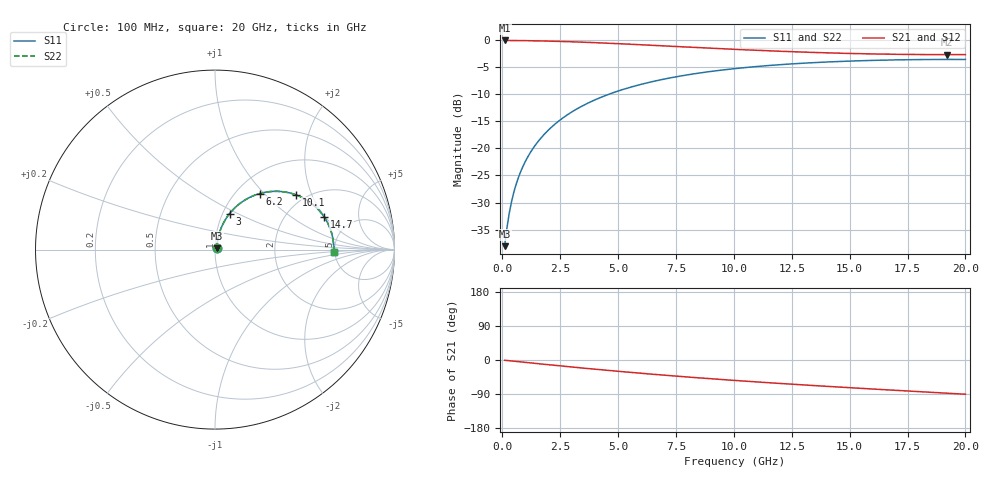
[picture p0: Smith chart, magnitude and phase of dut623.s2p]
! Touchstone file exported from HFSS 2026.1.0
!  File:  C:/ffzhzh/LocalFiles/Ansys_Project_Files/temp_train_TSV_RDL_623_1783125030_46604.aedt
!  Generated:  08:42:10 AM Jul  4, 2026
!  Design:  TSV_RDL
!  Project:  temp_train_TSV_RDL_623_1783125030_46604
! Variables:
!  h_bsmrdl = 5.82um
!  h_ox = 20um
!  h_rdl = 5um
!  h_sub = 63.92um
!  h_tmrdl = 3.71um
!  h_tsv = 63.92um
!  h_via = 3um
!  l_bsmrdl = 123.23um
!  l_sub = 1579.49um
!  l_tmrdl = 181.18um
!  m_sub = 200um
!  pitch = 56.35um
!  r_tsv = 4.2um
!  s_tmrdl = 10um
!  w_bsmrdl = 12.27um
!  w_sub = 500um
!  w_tmrdl = 16.09um
!  x_tsv_center1 = 189.225um
!  x_tsv_center2 = 324.725um
!  x_tsv_center3 = 521.995um
!  x_tsv_center4 = 657.495um
!  x_tsv_center5 = 854.765um
!  x_tsv_center6 = 990.265um
# GHz S MA R 50.000000
! Terminal data exported
! Port[1] = TM_RDL1_1_T1
! Port[2] = TM_RDL5_1_T1
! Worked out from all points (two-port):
!   200 points, 100 MHz to 20 GHz, reference 50 ohm
!   highest |S21| = -0.09 dB at 100 MHz (marker M1); lowest = -2.7 dB at 19.2 GHz (marker M2)
!   |S21| within 3 dB of the highest: start of sweep to end of sweep
!   lowest |S11| = -38.1 dB at 100 MHz (marker M3), VSWR 1.03, Z = 51 + j0.78 ohm
!   |S11| at or under -10 dB: start of sweep to 4.613 GHz
!   |S22| runs from -38.1 to -3.6 dB; largest |S21 - S12| = 1.1e-14
!   S11 on the Smith chart (normalised r, x): 100 MHz: 1.02, +0.02; 3 GHz: 1.08, +0.45; 6.2 GHz: 1.27, +0.94; 10.1 GHz: 1.79, +1.55; 14.7 GHz: 3.21, +1.95; 20 GHz: 4.89, -0.25
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0.1  0.01251 37.7  0.9902 -0.6  0.9902 -0.6  0.01251 37.7
! Gamma 0 0 0 0
! Port Impedance 50 0 50 0
0.2  0.01838 55.9  0.9899 -1.3  0.9899 -1.3  0.01838 55.9
0.3  0.02519 64.4  0.9896 -1.9  0.9896 -1.9  0.02519 64.4
0.4  0.03229 68.9  0.9892 -2.5  0.9892 -2.5  0.03229 68.9
0.5  0.0395 71.5  0.9888 -3.2  0.9888 -3.2  0.0395 71.5
0.7  0.05407 74.1  0.9879 -4.4  0.9879 -4.4  0.05407 74.1
1  0.07601 75.4  0.9861 -6.3  0.9861 -6.3  0.07601 75.4
1.4  0.1051 75.0  0.9831 -8.8  0.9831 -8.8  0.1051 75.0
1.8  0.1339 73.7  0.9792 -11.3  0.9792 -11.3  0.1339 73.7
2.4  0.176 71.0  0.9718 -14.9  0.9718 -14.9  0.176 71.0
3  0.2166 67.9  0.9628 -18.5  0.9628 -18.5  0.2166 67.9
3.5  0.249 65.3  0.9543 -21.4  0.9543 -21.4  0.249 65.3
4.7  0.3212 59.0  0.9312 -28.2  0.9312 -28.2  0.3212 59.0
6.2  0.3996 51.4  0.8993 -36.1  0.8993 -36.1  0.3996 51.4
6.8  0.4273 48.5  0.8862 -39.1  0.8862 -39.1  0.4273 48.5
8.4  0.4917 41.1  0.8521 -46.7  0.8521 -46.7  0.4917 41.1
10.1  0.546 33.9  0.8188 -54.2  0.8188 -54.2  0.546 33.9
13.4  0.6173 21.2  0.7681 -67.3  0.7681 -67.3  0.6173 21.2
14.7  0.6352 16.5  0.754 -72.0  0.754 -72.0  0.6352 16.5
16.7  0.6534 9.7  0.7392 -79.0  0.7392 -79.0  0.6534 9.7
19.2  0.6617 1.4  0.7324 -87.6  0.7324 -87.6  0.6617 1.4
20  0.6611 -1.3  0.733 -90.3  0.733 -90.3  0.6611 -1.3
